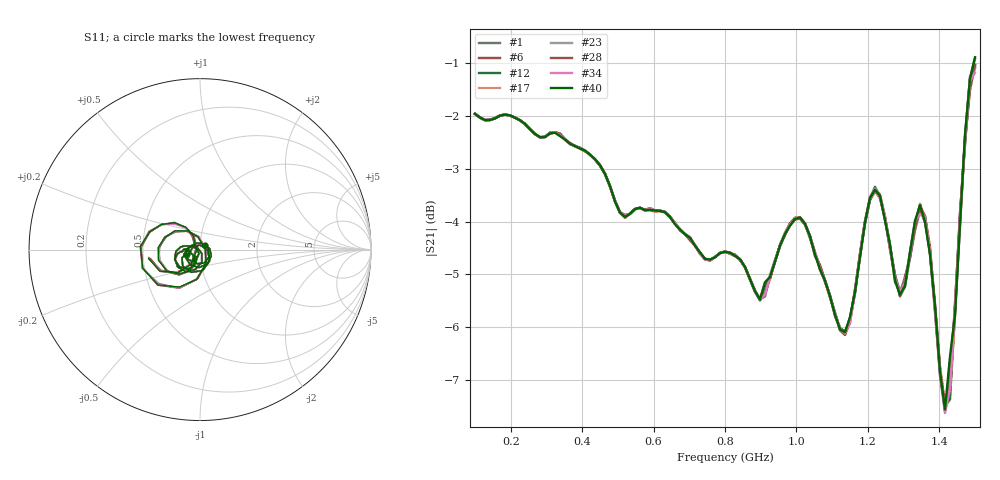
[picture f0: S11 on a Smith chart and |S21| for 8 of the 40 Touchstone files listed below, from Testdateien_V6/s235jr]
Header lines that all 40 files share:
! NanoVNA-App
! Start: 100MHz Stop: 1,5GHz Points: 101
! S-Parameter data: F S11 S21 S12 S22
# Hz S RI R 50
!  Frequency  S11_Real  S11_Imag  S21_Real  S21_Imag  S12_Real  S12_Imag  S22_Real  S22_Imag
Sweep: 100 MHz to 1.5 GHz
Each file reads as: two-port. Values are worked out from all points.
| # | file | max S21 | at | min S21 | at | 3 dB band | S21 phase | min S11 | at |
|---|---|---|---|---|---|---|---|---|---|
| 1 | s235jr (63).s2p | -1.04 dB | 1.5 GHz | -7.6 dB | 1.416 GHz | 100 MHz-660 MHz | 126 deg at 800 MHz | -35.1 dB | 870 MHz |
| 2 | s235jr (64).s2p | -0.83 dB | 1.5 GHz | -7.5 dB | 1.416 GHz | 100 MHz-506 MHz | 126 deg at 800 MHz | -34.7 dB | 1.444 GHz |
| 3 | s235jr (65).s2p | -1.15 dB | 1.5 GHz | -7.8 dB | 1.416 GHz | 100 MHz-674 MHz | 126 deg at 800 MHz | -34.9 dB | 870 MHz |
| 4 | s235jr (66).s2p | -0.88 dB | 1.5 GHz | -7.6 dB | 1.416 GHz | 100 MHz-506 MHz | 126 deg at 800 MHz | -35.1 dB | 870 MHz |
| 5 | s235jr (67).s2p | -0.90 dB | 1.5 GHz | -7.5 dB | 1.416 GHz | 100 MHz-506 MHz | 126 deg at 800 MHz | -34.8 dB | 870 MHz |
| 6 | s235jr (68).s2p | -1.03 dB | 1.5 GHz | -7.5 dB | 1.416 GHz | 100 MHz-646 MHz | 126 deg at 800 MHz | -35.1 dB | 870 MHz |
| 7 | s235jr (69).s2p | -1.11 dB | 1.5 GHz | -7.8 dB | 1.416 GHz | 100 MHz-660 MHz | 126 deg at 800 MHz | -35.0 dB | 870 MHz |
| 8 | s235jr (70).s2p | -1.14 dB | 1.5 GHz | -7.5 dB | 1.416 GHz | 100 MHz-660 MHz | 126 deg at 800 MHz | -34.8 dB | 870 MHz |
| 9 | s235jr (71).s2p | -1.11 dB | 1.5 GHz | -7.6 dB | 1.416 GHz | 100 MHz-660 MHz | 126 deg at 800 MHz | -34.9 dB | 870 MHz |
| 10 | s235jr (72).s2p | -0.83 dB | 1.5 GHz | -7.7 dB | 1.416 GHz | 100 MHz-492 MHz | 126 deg at 800 MHz | -34.7 dB | 870 MHz |
| 11 | s235jr (73).s2p | -0.92 dB | 1.5 GHz | -7.4 dB | 1.416 GHz | 100 MHz-646 MHz | 126 deg at 800 MHz | -37.2 dB | 1.444 GHz |
| 12 | s235jr (74).s2p | -1.08 dB | 1.5 GHz | -7.5 dB | 1.416 GHz | 100 MHz-660 MHz | 126 deg at 800 MHz | -35.2 dB | 870 MHz |
| 13 | s235jr (75).s2p | -0.84 dB | 1.5 GHz | -7.8 dB | 1.416 GHz | 100 MHz-506 MHz | 126 deg at 800 MHz | -35.1 dB | 870 MHz |
| 14 | s235jr (76).s2p | -0.95 dB | 1.5 GHz | -7.5 dB | 1.43 GHz | 100 MHz-646 MHz | 126 deg at 800 MHz | -34.9 dB | 870 MHz |
| 15 | s235jr (77).s2p | -0.91 dB | 1.5 GHz | -7.7 dB | 1.416 GHz | 100 MHz-646 MHz | 126 deg at 800 MHz | -34.8 dB | 870 MHz |
| 16 | s235jr (78).s2p | -0.96 dB | 1.5 GHz | -7.5 dB | 1.416 GHz | 100 MHz-646 MHz | 126 deg at 800 MHz | -35.0 dB | 870 MHz |
| 17 | s235jr (79).s2p | -0.91 dB | 1.5 GHz | -7.5 dB | 1.416 GHz | 100 MHz-506 MHz | 126 deg at 800 MHz | -35.0 dB | 870 MHz |
| 18 | s235jr (80).s2p | -0.84 dB | 1.5 GHz | -7.5 dB | 1.416 GHz | 100 MHz-492 MHz | 126 deg at 800 MHz | -34.9 dB | 870 MHz |
| 19 | s235jr (81).s2p | -1.17 dB | 1.5 GHz | -7.6 dB | 1.416 GHz | 100 MHz-674 MHz | 126 deg at 800 MHz | -34.7 dB | 870 MHz |
| 20 | s235jr (82).s2p | -1.09 dB | 1.5 GHz | -7.6 dB | 1.416 GHz | 100 MHz-660 MHz | 126 deg at 800 MHz | -36.5 dB | 1.444 GHz |
| 21 | s235jr (83).s2p | -1.06 dB | 1.5 GHz | -7.6 dB | 1.416 GHz | 100 MHz-660 MHz | 126 deg at 800 MHz | -35.0 dB | 870 MHz |
| 22 | s235jr (84).s2p | -1.01 dB | 1.5 GHz | -7.6 dB | 1.416 GHz | 100 MHz-646 MHz | 126 deg at 800 MHz | -34.8 dB | 1.444 GHz |
| 23 | s235jr (85).s2p | -1.09 dB | 1.5 GHz | -7.6 dB | 1.416 GHz | 100 MHz-660 MHz | 126 deg at 800 MHz | -34.9 dB | 870 MHz |
| 24 | s235jr (86).s2p | -0.93 dB | 1.5 GHz | -7.7 dB | 1.416 GHz | 100 MHz-646 MHz | 126 deg at 800 MHz | -34.8 dB | 870 MHz |
| 25 | s235jr (87).s2p | -1.05 dB | 1.5 GHz | -7.5 dB | 1.416 GHz | 100 MHz-660 MHz | 126 deg at 800 MHz | -35.0 dB | 870 MHz |
| 26 | s235jr (88).s2p | -1.14 dB | 1.5 GHz | -7.5 dB | 1.416 GHz | 100 MHz-660 MHz | 126 deg at 800 MHz | -35.0 dB | 870 MHz |
| 27 | s235jr (89).s2p | -1.13 dB | 1.5 GHz | -7.6 dB | 1.416 GHz | 100 MHz-660 MHz | 126 deg at 800 MHz | -35.0 dB | 870 MHz |
| 28 | s235jr (90).s2p | -1.02 dB | 1.5 GHz | -7.6 dB | 1.416 GHz | 100 MHz-646 MHz | 126 deg at 800 MHz | -34.8 dB | 870 MHz |
| 29 | s235jr (91).s2p | -1.15 dB | 1.5 GHz | -7.4 dB | 1.416 GHz | 100 MHz-674 MHz | 126 deg at 800 MHz | -34.8 dB | 870 MHz |
| 30 | s235jr (92).s2p | -1.07 dB | 1.5 GHz | -7.4 dB | 1.416 GHz | 100 MHz-660 MHz | 126 deg at 800 MHz | -34.9 dB | 870 MHz |
| 31 | s235jr (93).s2p | -1.10 dB | 1.5 GHz | -7.6 dB | 1.416 GHz | 100 MHz-660 MHz | 126 deg at 800 MHz | -35.1 dB | 870 MHz |
| 32 | s235jr (94).s2p | -0.93 dB | 1.5 GHz | -7.5 dB | 1.416 GHz | 100 MHz-646 MHz | 126 deg at 800 MHz | -35.2 dB | 870 MHz |
| 33 | s235jr (95).s2p | -1.04 dB | 1.5 GHz | -7.6 dB | 1.416 GHz | 100 MHz-660 MHz | 126 deg at 800 MHz | -34.8 dB | 870 MHz |
| 34 | s235jr (96).s2p | -1.17 dB | 1.5 GHz | -7.6 dB | 1.416 GHz | 100 MHz-674 MHz | 126 deg at 800 MHz | -34.9 dB | 1.444 GHz |
| 35 | s235jr (97).s2p | -0.83 dB | 1.5 GHz | -7.6 dB | 1.416 GHz | 100 MHz-492 MHz | 126 deg at 800 MHz | -34.9 dB | 1.444 GHz |
| 36 | s235jr (98).s2p | -1.06 dB | 1.5 GHz | -7.5 dB | 1.416 GHz | 100 MHz-660 MHz | 126 deg at 800 MHz | -36.0 dB | 1.444 GHz |
| 37 | s235jr (99).s2p | -0.92 dB | 1.5 GHz | -7.7 dB | 1.416 GHz | 100 MHz-646 MHz | 126 deg at 800 MHz | -34.8 dB | 870 MHz |
| 38 | s235jr (100).s2p | -1.16 dB | 1.5 GHz | -7.6 dB | 1.416 GHz | 100 MHz-674 MHz | 126 deg at 800 MHz | -35.1 dB | 870 MHz |
| 39 | s235jr (101).s2p | -1.05 dB | 1.5 GHz | -7.6 dB | 1.416 GHz | 100 MHz-660 MHz | 126 deg at 800 MHz | -34.8 dB | 870 MHz |
| 40 | s235jr (102).s2p | -0.88 dB | 1.5 GHz | -7.6 dB | 1.416 GHz | 100 MHz-506 MHz | 126 deg at 800 MHz | -35.0 dB | 870 MHz |
